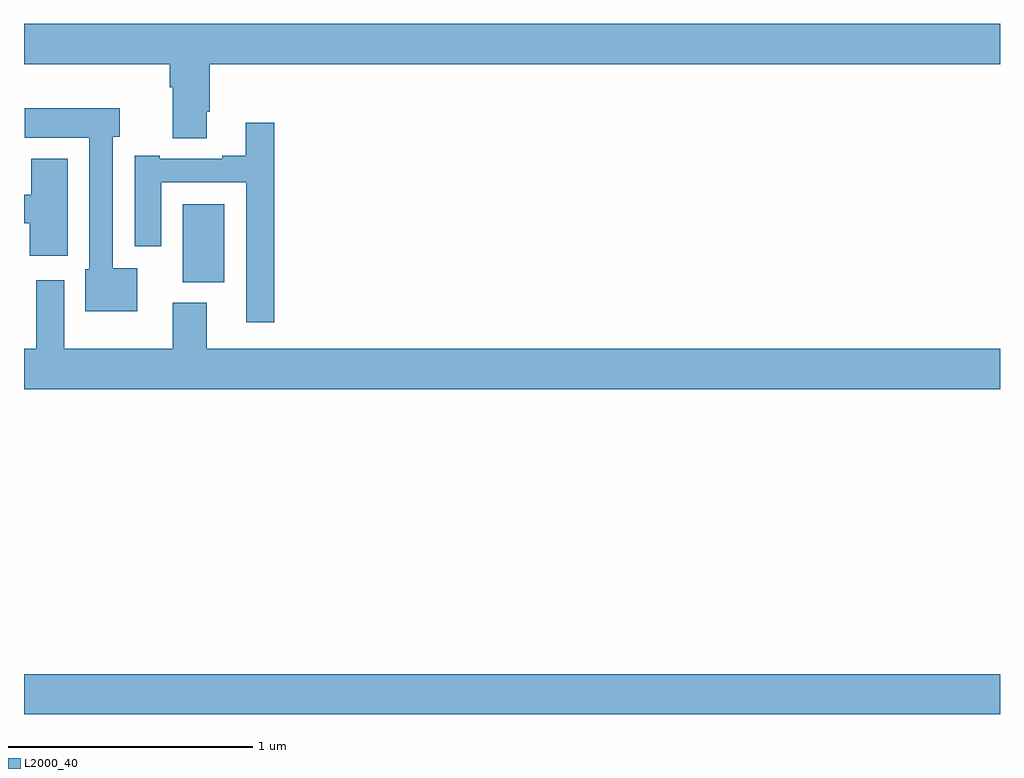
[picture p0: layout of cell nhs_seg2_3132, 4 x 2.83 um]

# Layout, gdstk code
import gdstk
lib = gdstk.Library(unit=1e-6, precision=1e-09)
def R(c, l, rs):  # rectangles x0, y0, x1, y1
    for r in rs: c.add(gdstk.rectangle(r[:2], r[2:], *l))
def P(c, l, *ps):  # polygons
    for p in ps: c.add(gdstk.Polygon(p, *l))
L2000_40 = (2000, 40)

nhs_seg2_3132 = lib.new_cell('nhs_seg2_3132')
R(nhs_seg2_3132, L2000_40, [(275,652.964,279,653.128), (275.651,654.734,275.821,655.054)])
P(nhs_seg2_3132, L2000_40, [(275.749,655.432),(275.762,655.432),(275.762,655.628),(279,655.628),(279,655.792),(275,655.792),(275,655.628),(275.597,655.628),(275.597,655.532),(275.609,655.532),(275.609,655.324),(275.749,655.324)],
  [(275.464,654.79),(275.364,654.79),(275.364,655.329),(275.392,655.329),(275.392,655.447),(275.004,655.447),(275.004,655.325),(275.268,655.325),(275.268,654.786),(275.252,654.786),(275.252,654.614),(275.464,654.614)],
  [(276.026,655.387),(275.909,655.387),(275.909,655.252),(275.813,655.252),(275.813,655.239),(275.557,655.239),(275.557,655.252),(275.453,655.252),(275.453,654.882),(275.563,654.882),(275.563,655.143),(275.91,655.143),(275.91,654.57),(276.026,654.57)],
  [(275.179,655.24),(275.03,655.24),(275.03,655.092),(275,655.092),(275,654.976),(275.023,654.976),(275.023,654.843),(275.179,654.843)],
  [(279,654.46),(275.749,654.46),(275.749,654.649),(275.609,654.649),(275.609,654.46),(275.164,654.46),(275.164,654.742),(275.051,654.742),(275.051,654.46),(275,654.46),(275,654.296),(279,654.296)])

lib.write_gds('nhs_seg2_3132.gds')
